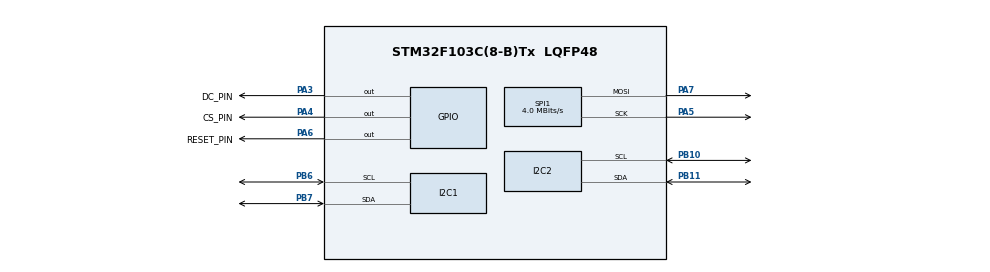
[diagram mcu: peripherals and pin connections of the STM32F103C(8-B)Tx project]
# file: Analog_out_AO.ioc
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I2C1.OwnAddress=0x12
I2C2.OwnAddress=0x13
Mcu.Family=STM32F1
Mcu.Name=STM32F103C(8-B)Tx
Mcu.Package=LQFP48
NVIC.PriorityGroup=NVIC_PRIORITYGROUP_4
PA13.Mode=Serial_Wire
PA13.Signal=SYS_JTMS-SWDIO
PA14.Mode=Serial_Wire
PA14.Signal=SYS_JTCK-SWCLK
PA3.GPIO_Label=DC_PIN
PA3.Signal=GPIO_Output
PA4.GPIO_Label=CS_PIN
PA4.Signal=GPIO_Output
PA5.Mode=TX_Only_Simplex_Unidirect_Master
PA5.Signal=SPI1_SCK
PA6.GPIO_Label=RESET_PIN
PA6.Signal=GPIO_Output
PA7.Mode=TX_Only_Simplex_Unidirect_Master
PA7.Signal=SPI1_MOSI
PB10.Mode=I2C
PB10.Signal=I2C2_SCL
PB11.Mode=I2C
PB11.Signal=I2C2_SDA
PB6.Mode=I2C
PB6.Signal=I2C1_SCL
PB7.Mode=I2C
PB7.Signal=I2C1_SDA
ProjectManager.HeapSize=0x200
ProjectManager.StackSize=0x400
ProjectManager.TargetToolchain=STM32CubeIDE
RCC.APB1Freq_Value=8000000
RCC.APB2Freq_Value=8000000
SPI1.CalculateBaudRate=4.0 MBits/s
SPI1.Direction=SPI_DIRECTION_2LINES
SPI1.Mode=SPI_MODE_MASTER
SPI1.VirtualType=VM_MASTER
board=custom

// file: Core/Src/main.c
/* USER CODE BEGIN Header */
/**
  ******************************************************************************
  * @file           : main.c
  * @brief          : Main program body
  ******************************************************************************
  * @attention
  *
  * Copyright (c) 2025 STMicroelectronics.
  * All rights reserved.
  *
  * This software is licensed under terms that can be found in the LICENSE file
  * in the root directory of this software component.
  * If no LICENSE file comes with this software, it is provided AS-IS.
  *
  ******************************************************************************
  */
/* USER CODE END Header */
#include "main.h"

/* USER CODE BEGIN Includes */
#include "I2C_Slave.h"
#include "ssd1306.h"
#include "ssd1306_fonts.h"
#include "string.h"
#include "stdio.h"
/* USER CODE END Includes */

I2C_HandleTypeDef hi2c1;
I2C_HandleTypeDef hi2c2;

SPI_HandleTypeDef hspi1;

/* USER CODE BEGIN PV */
char displayBuffer_main[4];
char displayBuffer_scndry[4];

uint8_t analogBuffer2[2];
uint16_t analogData2;
/* USER CODE END PV */

void SystemClock_Config(void);
static void MX_GPIO_Init(void);
static void MX_I2C1_Init(void);
static void MX_SPI1_Init(void);
static void MX_I2C2_Init(void);

int main(void)
{

  /* MCU Configuration--------------------------------------------------------*/

  /* Reset of all peripherals, Initializes the Flash interface and the Systick. */
  HAL_Init();

  /* Configure the system clock */
  SystemClock_Config();

  /* Initialize all configured peripherals */
  MX_GPIO_Init();
  MX_I2C1_Init();
  MX_SPI1_Init();
  MX_I2C2_Init();
  /* USER CODE BEGIN 2 */
  ssd1306_Init();
  //HAL_I2C_Slave_Receive_DMA(&hi2c2, rxBuffer2, 2); // start DMA
  /* USER CODE END 2 */

  /* Infinite loop */
  /* USER CODE BEGIN WHILE */
  while (1)
  {
      Poll_I2C1();
      HAL_I2C_Master_Receive(&hi2c2, 0x13 << 1, analogBuffer2, 2, 100);

      analogData2 = ((uint16_t) analogBuffer2[0] << 8) | analogBuffer2[1];

	    sprintf(displayBuffer_main, "%hu",analog_data);
	    sprintf(displayBuffer_scndry, "%hu", analogData2);
	    ssd1306_Fill(Black); // For the background color selection
	    ssd1306_SetCursor(2, 0);	// To point to a pixel to start writing from
	    ssd1306_WriteString("MAIN: ", Font_11x18, White); // To write the desired text on screen
		ssd1306_SetCursor(77,0);
		ssd1306_WriteString(displayBuffer_main, Font_11x18 , White);
		ssd1306_SetCursor(2, 16);
		ssd1306_WriteString("SEC: ", Font_11x18, White);
		ssd1306_SetCursor(77, 16);
		ssd1306_WriteString(displayBuffer_scndry, Font_11x18, White);
	    ssd1306_UpdateScreen();

    /* USER CODE END WHILE */

  }
}

void SystemClock_Config(void)
{
  RCC_OscInitTypeDef RCC_OscInitStruct = {0};
  RCC_ClkInitTypeDef RCC_ClkInitStruct = {0};

  /** Initializes the RCC Oscillators according to the specified parameters
  * in the RCC_OscInitTypeDef structure.
  */
  RCC_OscInitStruct.OscillatorType = RCC_OSCILLATORTYPE_HSI;
  RCC_OscInitStruct.HSIState = RCC_HSI_ON;
  RCC_OscInitStruct.HSICalibrationValue = RCC_HSICALIBRATION_DEFAULT;
  RCC_OscInitStruct.PLL.PLLState = RCC_PLL_NONE;
  if (HAL_RCC_OscConfig(&RCC_OscInitStruct) != HAL_OK)
  {
    Error_Handler();
  }

  /** Initializes the CPU, AHB and APB buses clocks
  */
  RCC_ClkInitStruct.ClockType = RCC_CLOCKTYPE_HCLK|RCC_CLOCKTYPE_SYSCLK
                              |RCC_CLOCKTYPE_PCLK1|RCC_CLOCKTYPE_PCLK2;
  RCC_ClkInitStruct.SYSCLKSource = RCC_SYSCLKSOURCE_HSI;
  RCC_ClkInitStruct.AHBCLKDivider = RCC_SYSCLK_DIV1;
  RCC_ClkInitStruct.APB1CLKDivider = RCC_HCLK_DIV1;
  RCC_ClkInitStruct.APB2CLKDivider = RCC_HCLK_DIV1;

  if (HAL_RCC_ClockConfig(&RCC_ClkInitStruct, FLASH_LATENCY_0) != HAL_OK)
  {
    Error_Handler();
  }
}

static void MX_I2C1_Init(void)
{

  hi2c1.Instance = I2C1;
  hi2c1.Init.ClockSpeed = 100000;
  hi2c1.Init.DutyCycle = I2C_DUTYCYCLE_2;
  hi2c1.Init.OwnAddress1 = 36;
  hi2c1.Init.AddressingMode = I2C_ADDRESSINGMODE_7BIT;
  hi2c1.Init.DualAddressMode = I2C_DUALADDRESS_DISABLE;
  hi2c1.Init.OwnAddress2 = 0;
  hi2c1.Init.GeneralCallMode = I2C_GENERALCALL_DISABLE;
  hi2c1.Init.NoStretchMode = I2C_NOSTRETCH_DISABLE;
  if (HAL_I2C_Init(&hi2c1) != HAL_OK)
  {
    Error_Handler();
  }

}

static void MX_I2C2_Init(void)
{

  hi2c2.Instance = I2C2;
  hi2c2.Init.ClockSpeed = 100000;
  hi2c2.Init.DutyCycle = I2C_DUTYCYCLE_2;
  hi2c2.Init.OwnAddress1 = 38;
  hi2c2.Init.AddressingMode = I2C_ADDRESSINGMODE_7BIT;
  hi2c2.Init.DualAddressMode = I2C_DUALADDRESS_DISABLE;
  hi2c2.Init.OwnAddress2 = 0;
  hi2c2.Init.GeneralCallMode = I2C_GENERALCALL_DISABLE;
  hi2c2.Init.NoStretchMode = I2C_NOSTRETCH_DISABLE;
  if (HAL_I2C_Init(&hi2c2) != HAL_OK)
  {
    Error_Handler();
  }

}

static void MX_SPI1_Init(void)
{

  /* SPI1 parameter configuration*/
  hspi1.Instance = SPI1;
  hspi1.Init.Mode = SPI_MODE_MASTER;
  hspi1.Init.Direction = SPI_DIRECTION_2LINES;
  hspi1.Init.DataSize = SPI_DATASIZE_8BIT;
  hspi1.Init.CLKPolarity = SPI_POLARITY_LOW;
  hspi1.Init.CLKPhase = SPI_PHASE_1EDGE;
  hspi1.Init.NSS = SPI_NSS_SOFT;
  hspi1.Init.BaudRatePrescaler = SPI_BAUDRATEPRESCALER_2;
  hspi1.Init.FirstBit = SPI_FIRSTBIT_MSB;
  hspi1.Init.TIMode = SPI_TIMODE_DISABLE;
  hspi1.Init.CRCCalculation = SPI_CRCCALCULATION_DISABLE;
  hspi1.Init.CRCPolynomial = 10;
  if (HAL_SPI_Init(&hspi1) != HAL_OK)
  {
    Error_Handler();
  }

}

static void MX_GPIO_Init(void)
{
  GPIO_InitTypeDef GPIO_InitStruct = {0};

  /* GPIO Ports Clock Enable */
  __HAL_RCC_GPIOA_CLK_ENABLE();
  __HAL_RCC_GPIOB_CLK_ENABLE();

  /*Configure GPIO pin Output Level */
  HAL_GPIO_WritePin(GPIOA, DC_PIN_Pin|CS_PIN_Pin|RESET_PIN_Pin, GPIO_PIN_RESET);

  /*Configure GPIO pins : DC_PIN_Pin CS_PIN_Pin RESET_PIN_Pin */
  GPIO_InitStruct.Pin = DC_PIN_Pin|CS_PIN_Pin|RESET_PIN_Pin;
  GPIO_InitStruct.Mode = GPIO_MODE_OUTPUT_PP;
  GPIO_InitStruct.Pull = GPIO_NOPULL;
  GPIO_InitStruct.Speed = GPIO_SPEED_FREQ_LOW;
  HAL_GPIO_Init(GPIOA, &GPIO_InitStruct);

}

void Error_Handler(void)
{
  __disable_irq();
  while (1)
  {
  }
}
